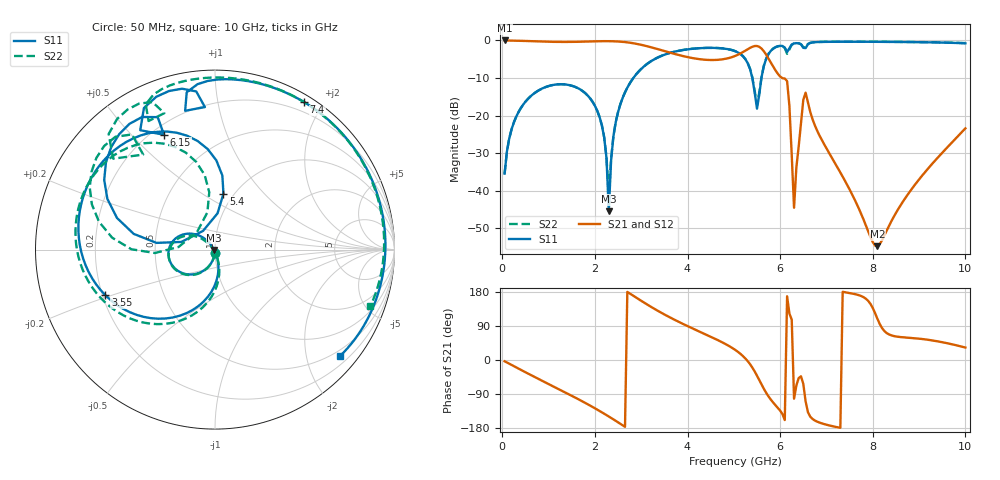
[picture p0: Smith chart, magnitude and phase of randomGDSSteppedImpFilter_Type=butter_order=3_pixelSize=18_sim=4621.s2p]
! freq	dB(S11)	phase(S11)	dB(S12)	phase(S12)
!  dB(S21)	phase(S21)	dB(S22)	phase(S22)
!S-par simulation data
#  GHz  S  DB  R 50
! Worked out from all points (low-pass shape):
!   200 points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, 50 MHz to 10 GHz, reference 50 ohm
!   highest |S21| = -0.01 dB at 50 MHz (marker M1); lowest = -54.8 dB at 8.1 GHz (marker M2)
!   |S21| within 3 dB of the highest: start of sweep to 3.551 GHz; 5.21 GHz to 5.655 GHz (444.8 MHz wide, 8.19 % of centre)
!   lowest |S11| = -45.5 dB at 2.3 GHz (marker M3), VSWR 1.01, Z = 49.5 - j0.157 ohm
!   |S11| at or under -10 dB: start of sweep to 2.831 GHz; 5.399 GHz to 5.596 GHz (197 MHz wide, 3.58 % of centre)
!   |S22| runs from -41.2 to -0.3 dB; largest |S21 - S12| = 0
!   S11 on the Smith chart (normalised r, x): 50 MHz: 1.00, -0.03; 3.55 GHz: 0.21, -0.19; 5.4 GHz: 0.90, +0.62; 6.15 GHz: 0.25, +0.62; 7.4 GHz: 0.08, +1.77; 10 GHz: 0.37, -2.66
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0.05  -35.45 -92.5  -0.01 -3.3  -0.01 -3.3  -35.45 -92.5
0.55  -15.61 -126.4  -0.17 -35.5  -0.17 -35.5  -15.61 -125.4
1.75  -13.62 157.8  -0.33 -110.5  -0.33 -110.5  -13.62 161.6
2.15  -22.59 132.1  -0.20 -138.0  -0.20 -138.0  -22.58 138.6
2.25  -31.30 130.3  -0.20 -145.4  -0.20 -145.4  -31.12 142.2
2.3  -45.48 -162.7  -0.20 -149.1  -0.20 -149.1  -41.16 -154.5
2.4  -25.48 -74.6  -0.23 -156.7  -0.23 -156.7  -25.35 -74.6
2.55  -16.98 -83.5  -0.33 -168.4  -0.33 -168.4  -16.94 -80.6
3.4  -4.30 -147.3  -2.47 126.9  -2.47 126.9  -4.29 -141.1
3.55  -3.59 -157.3  -3.01 116.9  -3.01 116.9  -3.58 -150.8
5.05  -2.97 112.2  -4.02 24.9  -4.02 24.9  -2.96 123.6
5.4  -10.03 81.4  -1.69 -20.1  -1.69 -20.1  -9.88 95.7
5.5  -18.15 122.5  -1.48 -41.4  -1.48 -41.4  -17.07 135.5
5.65  -6.72 169.1  -2.92 -76.5  -2.92 -76.5  -6.63 179.8
6.15  -3.10 114.0  -10.83 168.2  -10.83 168.2  -3.56 127.1
6.3  -0.80 111.0  -44.54 -102.1  -44.54 -102.1  -0.82 126.8
6.5  -1.98 94.1  -15.81 -63.2  -15.81 -63.2  -1.82 110.4
6.7  -0.53 92.4  -21.01 -155.7  -21.01 -155.7  -0.52 108.3
7.4  -0.35 58.9  -37.37 178.8  -37.37 178.8  -0.35 77.0
8.1  -0.37 30.8  -54.76 108.7  -54.76 108.7  -0.36 50.5
8.35  -0.39 21.2  -49.36 67.5  -49.36 67.5  -0.37 41.3
10  -0.77 -40.5  -23.41 32.8  -23.41 32.8  -0.71 -20.0
